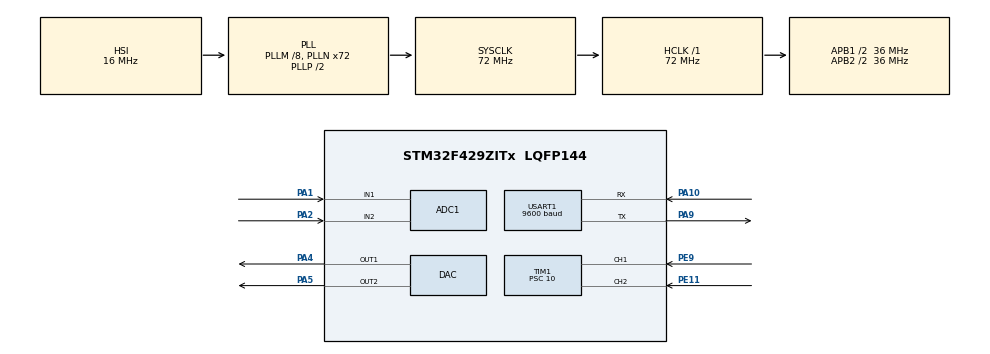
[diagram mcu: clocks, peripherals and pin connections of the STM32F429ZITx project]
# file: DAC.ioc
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ADC1.Channel-0\#ChannelRegularConversion=ADC_CHANNEL_1
ADC1.Channel-1\#ChannelRegularConversion=ADC_CHANNEL_2
ADC1.ContinuousConvMode=ENABLE
ADC1.DMAContinuousRequests=ENABLE
ADC1.InjNumberOfConversion=0
ADC1.NbrOfConversion=2
ADC1.NbrOfConversionFlag=1
ADC1.Rank-0\#ChannelRegularConversion=1
ADC1.Rank-1\#ChannelRegularConversion=2
ADC1.SamplingTime-0\#ChannelRegularConversion=ADC_SAMPLETIME_84CYCLES
ADC1.SamplingTime-1\#ChannelRegularConversion=ADC_SAMPLETIME_84CYCLES
ADC1.ScanConvMode=ENABLE
ADC1.master=1
Dma.ADC1.0.Direction=DMA_PERIPH_TO_MEMORY
Dma.ADC1.0.FIFOMode=DMA_FIFOMODE_DISABLE
Dma.ADC1.0.Instance=DMA2_Stream0
Dma.ADC1.0.MemDataAlignment=DMA_MDATAALIGN_WORD
Dma.ADC1.0.MemInc=DMA_MINC_ENABLE
Dma.ADC1.0.Mode=DMA_CIRCULAR
Dma.ADC1.0.PeriphDataAlignment=DMA_PDATAALIGN_WORD
Dma.ADC1.0.PeriphInc=DMA_PINC_DISABLE
Dma.ADC1.0.Priority=DMA_PRIORITY_MEDIUM
Dma.Request0=ADC1
Mcu.Family=STM32F4
Mcu.Name=STM32F429ZITx
Mcu.Package=LQFP144
NVIC.DMA2_Stream0_IRQn=true\:0\:0\:false\:false\:true\:false\:true\:true
NVIC.PriorityGroup=NVIC_PRIORITYGROUP_4
NVIC.TIM1_BRK_TIM9_IRQn=true\:0\:0\:false\:false\:true\:true\:true\:true
NVIC.TIM1_CC_IRQn=true\:0\:0\:false\:false\:true\:true\:true\:true
NVIC.TIM1_TRG_COM_TIM11_IRQn=true\:0\:0\:false\:false\:true\:true\:true\:true
NVIC.TIM1_UP_TIM10_IRQn=true\:0\:0\:false\:false\:true\:true\:true\:true
PA1.Signal=ADCx_IN1
PA10.Mode=Asynchronous
PA10.Signal=USART1_RX
PA13.Mode=Serial_Wire
PA13.Signal=SYS_JTMS-SWDIO
PA14.Mode=Serial_Wire
PA14.Signal=SYS_JTCK-SWCLK
PA2.Signal=ADCx_IN2
PA4.Signal=COMP_DAC1_group
PA5.Signal=COMP_DAC2_group
PA9.Mode=Asynchronous
PA9.Signal=USART1_TX
PE11.Signal=S_TIM1_CH2
PE9.Signal=S_TIM1_CH1
PH0/OSC_IN.Mode=HSE-External-Oscillator
PH0/OSC_IN.Signal=RCC_OSC_IN
PH1/OSC_OUT.Mode=HSE-External-Oscillator
PH1/OSC_OUT.Signal=RCC_OSC_OUT
ProjectManager.HeapSize=0x200
ProjectManager.StackSize=0x400
ProjectManager.TargetToolchain=STM32CubeIDE
RCC.48MHZClocksFreq_Value=48000000
RCC.AHBFreq_Value=72000000
RCC.APB1CLKDivider=RCC_HCLK_DIV2
RCC.APB1Freq_Value=36000000
RCC.APB1TimFreq_Value=72000000
RCC.APB2CLKDivider=RCC_HCLK_DIV2
RCC.APB2Freq_Value=36000000
RCC.APB2TimFreq_Value=72000000
RCC.CortexFreq_Value=72000000
RCC.HCLKFreq_Value=72000000
RCC.HSE_VALUE=8000000
RCC.HSI_VALUE=16000000
RCC.LSE_VALUE=32768
RCC.PLLM=8
RCC.PLLN=72
RCC.PLLQ=3
RCC.PLLSAIN=50
RCC.SYSCLKFreq_VALUE=72000000
RCC.SYSCLKSource=RCC_SYSCLKSOURCE_PLLCLK
RCC.VCOOutputFreq_Value=144000000
SH.ADCx_IN1.0=ADC1_IN1,IN1
SH.ADCx_IN2.0=ADC1_IN2,IN2
SH.COMP_DAC1_group.0=DAC_OUT1,DAC_OUT1
SH.COMP_DAC2_group.0=DAC_OUT2,DAC_OUT2
SH.S_TIM1_CH1.0=TIM1_CH1,Encoder_Interface
SH.S_TIM1_CH2.0=TIM1_CH2,Encoder_Interface
TIM1.AutoReloadPreload=TIM_AUTORELOAD_PRELOAD_DISABLE
TIM1.CounterMode=TIM_COUNTERMODE_UP
TIM1.EncoderMode=TIM_ENCODERMODE_TI12
TIM1.IC1Filter=10
TIM1.IC1Polarity=TIM_ICPOLARITY_RISING
TIM1.IC2Filter=10
TIM1.IC2Polarity=TIM_ICPOLARITY_FALLING
TIM1.Period=4096
TIM1.Prescaler=10
TIM1.RepetitionCounter=0
TIM1.TIM_MasterSlaveMode=TIM_MASTERSLAVEMODE_ENABLE
USART1.BaudRate=9600
USART1.Mode=MODE_TX
USART1.VirtualMode=VM_ASYNC
board=STM32F429I-DISC1

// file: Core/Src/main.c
/* USER CODE BEGIN Header */
/**
 ******************************************************************************
 * @file           : main.c
 * @brief          : Main program body
 ******************************************************************************
 * @attention
 *
 * Copyright (c) 2023 STMicroelectronics.
 * All rights reserved.
 *
 * This software is licensed under terms that can be found in the LICENSE file
 * in the root directory of this software component.
 * If no LICENSE file comes with this software, it is provided AS-IS.
 *
 ******************************************************************************
 */
/* USER CODE END Header */
#include "main.h"

/* USER CODE BEGIN Includes */
#include "stdio.h"
#include "math.h"
#include "stdlib.h"

/* USER CODE END Includes */

/* USER CODE BEGIN PD */
uint32_t pot_v=2048;
uint16_t pot_x=0;
uint16_t count;

uint32_t adcbuffer[2];

double pi=3.1415;
double Rw = 0.2; //Teker yarıcapı
double L = 2.250; //Arac uzunluğu
double w = 1.610; // tekerler arası mesafe(AKS)
double R;  // R degeri
double S0; //ic teker acısı
double S1; //dis teker acısı
uint16_t K;
uint16_t Wsol;
uint16_t Wsag;
double a;
double b;
double c;
double d;
uint16_t i=3500;
uint8_t cmd_end[3]={0xFF,0xFF,0xFF};

char serialData[]="suck it\n";
char hold[10];
/* USER CODE END PD */

ADC_HandleTypeDef hadc1;
DMA_HandleTypeDef hdma_adc1;

DAC_HandleTypeDef hdac;

TIM_HandleTypeDef htim1;

UART_HandleTypeDef huart1;

void SystemClock_Config(void);
static void MX_GPIO_Init(void);
static void MX_DMA_Init(void);
static void MX_ADC1_Init(void);
static void MX_DAC_Init(void);
static void MX_USART1_UART_Init(void);
static void MX_TIM1_Init(void);
/* USER CODE BEGIN PFP */

/*void HAL_ADC_ConvCpltCallback(ADC_HandleTypeDef* hadc)
{

	if(hadc->Instance==ADC1)
	{

		pot_v=adcbuffer[1];

	}
}*/

void HAL_TIM_IC_CaptureCallback(TIM_HandleTypeDef *htim)
{

	pot_x=__HAL_TIM_GET_COUNTER(htim);
	if (2048<pot_x && pot_x<4096){

		count=-(4095-pot_x);
	}
	else{

		count=pot_x;
	}
}

void hesaplama() {

	if (count <= 0) // 4096==360 derece  Tam sol 0 , tam sağ 4096 düşünürsek
			{

		//sol ic teker
		a=(((-1)*count)*(2*pi/4096)/12);
		b=tan(a);
		d=(double)(pot_v*100)/4096*(1/0.5684);
		R=L/b;

		S0 = atan((L/(R - (w / 2))));
		S1 = atan((L/(R + (w / 2))));

		S0=atan(S0);
		S1=atan(S1);

		c=(sin((double)(S0)) - sin((double)(S1))) / (sin((double)(S0)) + sin((double)(S1)));

		K = (double)(c*d);

		Wsol =(double)(d - K);
		Wsag = (double)(d + K);

		Wsol = (4096 / 132) * Wsol;
		Wsag = (4096 / 146) * Wsag;

	}

	else if (count > 0) {

		//sag ic teker
		a=(count*(2*pi/4096)/12);
		b=tan(a);
		d=(double)(pot_v*100)/4096*(1/0.5684);
		R=L/b;

		S0 = atan((L/(R - (w / 2))));
		S1 = atan((L/(R + (w / 2))));

		S0=atan(S0);
		S1=atan(S1);

		c=(sin((double)(S0)) - sin((double)(S1))) / (sin((double)(S0)) + sin((double)(S1)));

		K = (double)(c*d);
		Wsol = (double)(d + K);
		Wsag = (double)(d - K);

		Wsol = (4096 / 146) * Wsol;
		Wsag = (4096 / 132) * Wsag;

	}
}

void Sent_DAC() {

	HAL_DAC_SetValue(&hdac, DAC_CHANNEL_1, DAC_ALIGN_12B_R, Wsol); //PA4 PIN
	HAL_DAC_SetValue(&hdac, DAC_CHANNEL_2, DAC_ALIGN_12B_R, Wsag); //PA5 PIN

	}

void send_Serial(char *ID, char *string){

	char buf[50];
	int len=sprintf(buf,"%s.txt=\"%s\"",ID,string);
	HAL_UART_Transmit(&huart1,(uint8_t *)buf,len,1000);
    HAL_UART_Transmit(&huart1,cmd_end,3,100);

}

void send_Serial_Num(char *obj, int num){

	uint8_t *buffer=malloc(30*sizeof(char));
	int len=sprintf((char *)buffer,"%s.val=%d",obj,num);
	HAL_UART_Transmit(&huart1,buffer,len,1000);
	HAL_UART_Transmit(&huart1,cmd_end,3,100);

}

void send_tera(){

	HAL_UART_Transmit(&huart1,"50",sizeof(serialData),100);
	HAL_Delay(1000);
}

void add(){

/* USER CODE END PFP */

int main(void)
{

  /* MCU Configuration--------------------------------------------------------*/

  /* Reset of all peripherals, Initializes the Flash interface and the Systick. */
  HAL_Init();

  /* Configure the system clock */
  SystemClock_Config();

  /* Initialize all configured peripherals */
  MX_GPIO_Init();
  MX_DMA_Init();
  MX_ADC1_Init();
  MX_DAC_Init();
  MX_USART1_UART_Init();
  MX_TIM1_Init();
  /* USER CODE BEGIN 2 */

 // HAL_ADC_Start_DMA(&hadc1,adcbuffer,2);
 // HAL_DAC_Start(&hdac, DAC_CHANNEL_1);
 // HAL_DAC_Start(&hdac, DAC_CHANNEL_2);
    HAL_TIM_Encoder_Start(&htim1,TIM_CHANNEL_ALL);
    pot_x+=2048;

  /* USER CODE END 2 */

  /* Infinite loop */
		while (1) {

    /* USER CODE BEGIN 3 */

//      HAL_ADC_ConvCpltCallback(&hadc1);
//	    get_pot_x();
//		pot_v=(pot_v*100)/4096;
//		sprintf(hold,"%d",pot_v);
//		hesaplama();
//		Sent_DAC();
//		send_Serial("t6",hold);
//		send_tera();

		HAL_TIM_IC_CaptureCallback(&htim1);

}

  /* USER CODE END 3 */
}

void SystemClock_Config(void)
{
  RCC_OscInitTypeDef RCC_OscInitStruct = {0};
  RCC_ClkInitTypeDef RCC_ClkInitStruct = {0};

  /** Configure the main internal regulator output voltage
  */
  __HAL_RCC_PWR_CLK_ENABLE();
  __HAL_PWR_VOLTAGESCALING_CONFIG(PWR_REGULATOR_VOLTAGE_SCALE3);

  /** Initializes the RCC Oscillators according to the specified parameters
  * in the RCC_OscInitTypeDef structure.
  */
  RCC_OscInitStruct.OscillatorType = RCC_OSCILLATORTYPE_HSI;
  RCC_OscInitStruct.HSIState = RCC_HSI_ON;
  RCC_OscInitStruct.HSICalibrationValue = RCC_HSICALIBRATION_DEFAULT;
  RCC_OscInitStruct.PLL.PLLState = RCC_PLL_ON;
  RCC_OscInitStruct.PLL.PLLSource = RCC_PLLSOURCE_HSI;
  RCC_OscInitStruct.PLL.PLLM = 8;
  RCC_OscInitStruct.PLL.PLLN = 72;
  RCC_OscInitStruct.PLL.PLLP = RCC_PLLP_DIV2;
  RCC_OscInitStruct.PLL.PLLQ = 3;
  if (HAL_RCC_OscConfig(&RCC_OscInitStruct) != HAL_OK)
  {
    Error_Handler();
  }

  /** Initializes the CPU, AHB and APB buses clocks
  */
  RCC_ClkInitStruct.ClockType = RCC_CLOCKTYPE_HCLK|RCC_CLOCKTYPE_SYSCLK
                              |RCC_CLOCKTYPE_PCLK1|RCC_CLOCKTYPE_PCLK2;
  RCC_ClkInitStruct.SYSCLKSource = RCC_SYSCLKSOURCE_PLLCLK;
  RCC_ClkInitStruct.AHBCLKDivider = RCC_SYSCLK_DIV1;
  RCC_ClkInitStruct.APB1CLKDivider = RCC_HCLK_DIV2;
  RCC_ClkInitStruct.APB2CLKDivider = RCC_HCLK_DIV2;

  if (HAL_RCC_ClockConfig(&RCC_ClkInitStruct, FLASH_LATENCY_2) != HAL_OK)
  {
    Error_Handler();
  }
}

static void MX_ADC1_Init(void)
{

  ADC_ChannelConfTypeDef sConfig = {0};

  /** Configure the global features of the ADC (Clock, Resolution, Data Alignment and number of conversion)
  */
  hadc1.Instance = ADC1;
  hadc1.Init.ClockPrescaler = ADC_CLOCK_SYNC_PCLK_DIV2;
  hadc1.Init.Resolution = ADC_RESOLUTION_12B;
  hadc1.Init.ScanConvMode = ENABLE;
  hadc1.Init.ContinuousConvMode = ENABLE;
  hadc1.Init.DiscontinuousConvMode = DISABLE;
  hadc1.Init.ExternalTrigConvEdge = ADC_EXTERNALTRIGCONVEDGE_NONE;
  hadc1.Init.ExternalTrigConv = ADC_SOFTWARE_START;
  hadc1.Init.DataAlign = ADC_DATAALIGN_RIGHT;
  hadc1.Init.NbrOfConversion = 2;
  hadc1.Init.DMAContinuousRequests = ENABLE;
  hadc1.Init.EOCSelection = ADC_EOC_SINGLE_CONV;
  if (HAL_ADC_Init(&hadc1) != HAL_OK)
  {
    Error_Handler();
  }

  /** Configure for the selected ADC regular channel its corresponding rank in the sequencer and its sample time.
  */
  sConfig.Channel = ADC_CHANNEL_1;
  sConfig.Rank = 1;
  sConfig.SamplingTime = ADC_SAMPLETIME_84CYCLES;
  if (HAL_ADC_ConfigChannel(&hadc1, &sConfig) != HAL_OK)
  {
    Error_Handler();
  }

  /** Configure for the selected ADC regular channel its corresponding rank in the sequencer and its sample time.
  */
  sConfig.Channel = ADC_CHANNEL_2;
  sConfig.Rank = 2;
  if (HAL_ADC_ConfigChannel(&hadc1, &sConfig) != HAL_OK)
  {
    Error_Handler();
  }

}

static void MX_DAC_Init(void)
{

  DAC_ChannelConfTypeDef sConfig = {0};

  /** DAC Initialization
  */
  hdac.Instance = DAC;
  if (HAL_DAC_Init(&hdac) != HAL_OK)
  {
    Error_Handler();
  }

  /** DAC channel OUT1 config
  */
  sConfig.DAC_Trigger = DAC_TRIGGER_NONE;
  sConfig.DAC_OutputBuffer = DAC_OUTPUTBUFFER_ENABLE;
  if (HAL_DAC_ConfigChannel(&hdac, &sConfig, DAC_CHANNEL_1) != HAL_OK)
  {
    Error_Handler();
  }

  /** DAC channel OUT2 config
  */
  if (HAL_DAC_ConfigChannel(&hdac, &sConfig, DAC_CHANNEL_2) != HAL_OK)
  {
    Error_Handler();
  }

}

static void MX_TIM1_Init(void)
{

  TIM_Encoder_InitTypeDef sConfig = {0};
  TIM_MasterConfigTypeDef sMasterConfig = {0};

  htim1.Instance = TIM1;
  htim1.Init.Prescaler = 10;
  htim1.Init.CounterMode = TIM_COUNTERMODE_UP;
  htim1.Init.Period = 4096;
  htim1.Init.ClockDivision = TIM_CLOCKDIVISION_DIV1;
  htim1.Init.RepetitionCounter = 0;
  htim1.Init.AutoReloadPreload = TIM_AUTORELOAD_PRELOAD_DISABLE;
  sConfig.EncoderMode = TIM_ENCODERMODE_TI12;
  sConfig.IC1Polarity = TIM_ICPOLARITY_RISING;
  sConfig.IC1Selection = TIM_ICSELECTION_DIRECTTI;
  sConfig.IC1Prescaler = TIM_ICPSC_DIV1;
  sConfig.IC1Filter = 10;
  sConfig.IC2Polarity = TIM_ICPOLARITY_FALLING;
  sConfig.IC2Selection = TIM_ICSELECTION_DIRECTTI;
  sConfig.IC2Prescaler = TIM_ICPSC_DIV1;
  sConfig.IC2Filter = 10;
  if (HAL_TIM_Encoder_Init(&htim1, &sConfig) != HAL_OK)
  {
    Error_Handler();
  }
  sMasterConfig.MasterOutputTrigger = TIM_TRGO_RESET;
  sMasterConfig.MasterSlaveMode = TIM_MASTERSLAVEMODE_ENABLE;
  if (HAL_TIMEx_MasterConfigSynchronization(&htim1, &sMasterConfig) != HAL_OK)
  {
    Error_Handler();
  }

}

static void MX_USART1_UART_Init(void)
{

  huart1.Instance = USART1;
  huart1.Init.BaudRate = 9600;
  huart1.Init.WordLength = UART_WORDLENGTH_8B;
  huart1.Init.StopBits = UART_STOPBITS_1;
  huart1.Init.Parity = UART_PARITY_NONE;
  huart1.Init.Mode = UART_MODE_TX;
  huart1.Init.HwFlowCtl = UART_HWCONTROL_NONE;
  huart1.Init.OverSampling = UART_OVERSAMPLING_16;
  if (HAL_UART_Init(&huart1) != HAL_OK)
  {
    Error_Handler();
  }

}

static void MX_DMA_Init(void)
{

  /* DMA controller clock enable */
  __HAL_RCC_DMA2_CLK_ENABLE();

  /* DMA interrupt init */
  /* DMA2_Stream0_IRQn interrupt configuration */
  HAL_NVIC_SetPriority(DMA2_Stream0_IRQn, 0, 0);
  HAL_NVIC_EnableIRQ(DMA2_Stream0_IRQn);

}

static void MX_GPIO_Init(void)
{

  /* GPIO Ports Clock Enable */
  __HAL_RCC_GPIOH_CLK_ENABLE();
  __HAL_RCC_GPIOA_CLK_ENABLE();
  __HAL_RCC_GPIOE_CLK_ENABLE();

}

void Error_Handler(void)
{
		__disable_irq();
		while (1)
		{
		}
}
